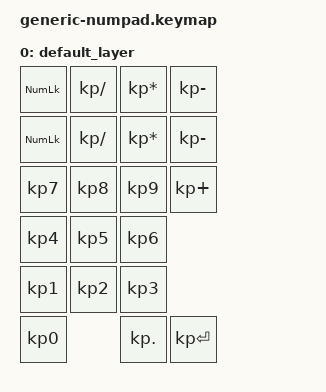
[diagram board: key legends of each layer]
#include <behaviors.dtsi>
#include <dt-bindings/zmk/keys.h>
#include <dt-bindings/zmk/bt.h>
#include <dt-bindings/zmk/outputs.h>
#include "generic-numpad.dtsi"
#include "generic-numpad.overlay"

/ {
    keymap {
        compatible = "zmk,keymap";

        default_layer {
            bindings = <
    &kp KP_NLCK   &kp KP_DIVIDE  &kp KP_MULTIPLY   &kp KP_MINUS
    &kp KP_NLCK   &kp KP_DIVIDE  &kp KP_MULTIPLY   &kp KP_MINUS
    &kp KP_N7     &kp KP_N8      &kp KP_N9         &kp KP_PLUS
    &kp KP_N4     &kp KP_N5      &kp KP_N6
    &kp KP_N1     &kp KP_N2      &kp KP_N3         
    &kp KP_N0                    &kp KP_DOT        &kp KP_ENTER
            >;
        };
    };
};
